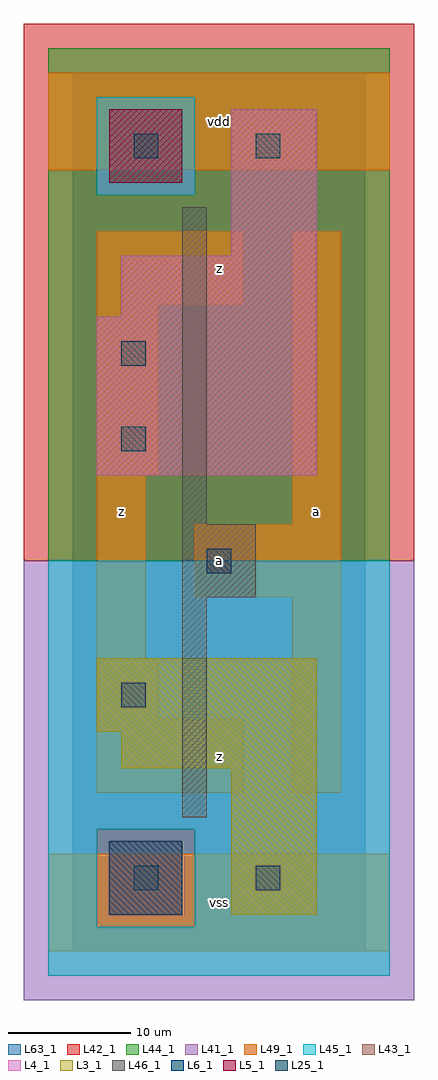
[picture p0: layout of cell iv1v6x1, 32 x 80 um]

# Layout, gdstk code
import gdstk
lib = gdstk.Library(unit=1e-6, precision=1e-09)
def R(c, l, rs):  # rectangles x0, y0, x1, y1
    for r in rs: c.add(gdstk.rectangle(r[:2], r[2:], *l))
L3_1 = (3, 1)
L4_1 = (4, 1)
L5_1 = (5, 1)
L6_1 = (6, 1)
L25_1 = (25, 1)
L41_1 = (41, 1)
L42_1 = (42, 1)
L43_1 = (43, 1)
L44_1 = (44, 1)
L45_1 = (45, 1)
L46_1 = (46, 1)
L49_1 = (49, 1)
L63_1 = (63, 1)

iv1v6x1 = lib.new_cell('iv1v6x1')
R(iv1v6x1, L3_1, [(13,3,20,15), (4,15,20,18), (2,18,20,24)])
R(iv1v6x1, L4_1, [(2,39,20,52), (4,52,20,57), (13,57,20,69)])
R(iv1v6x1, L5_1, [(3,63,9,69)])
R(iv1v6x1, L6_1, [(3,3,9,9), (3,3,9,9)])
R(iv1v6x1, L25_1, [(5,5,7,7), (15,5,17,7), (4,20,6,22), (11,31,13,33), (4,41,6,43), (4,48,6,50), (5,65,7,67), (15,65,17,67)])
R(iv1v6x1, L41_1, [(-4,-4,28,32)])
R(iv1v6x1, L42_1, [(-4,32,28,76)])
R(iv1v6x1, L43_1, [(3,3,9,9), (13,3,20,15), (4,15,20,18), (2,18,20,24), (2,39,20,52), (4,52,20,57), (13,57,20,69), (3,63,9,69)])
R(iv1v6x1, L44_1, [(2,2,10,10), (-2,32,26,62), (-2,62,2,70), (10,62,26,70), (-2,70,26,74)])
R(iv1v6x1, L45_1, [(-2,-2,26,2), (-2,2,2,10), (10,2,26,10), (-2,10,26,32), (2,62,10,70)])
R(iv1v6x1, L46_1, [(9,11,11,29), (9,29,15,35), (9,35,11,61)])
R(iv1v6x1, L49_1, [(-2,0,26,8), (2,13,14,19), (18,13,22,29), (2,19,7,24), (2,24,6,39), (10,29,22,35), (18,35,22,59), (2,39,7,53), (2,53,14,59), (-2,64,26,72)])
R(iv1v6x1, L63_1, [(0,0,24,72)])
iv1v6x1.add(gdstk.Label('z', (4,36), layer=49, texttype=1))
iv1v6x1.add(gdstk.Label('vss', (12,4), layer=49, texttype=1))
iv1v6x1.add(gdstk.Label('z', (12,16), layer=49, texttype=1))
iv1v6x1.add(gdstk.Label('a', (12,32), layer=49, texttype=1))
iv1v6x1.add(gdstk.Label('z', (12,56), layer=49, texttype=1))
iv1v6x1.add(gdstk.Label('vdd', (12,68), layer=49, texttype=1))
iv1v6x1.add(gdstk.Label('a', (20,36), layer=49, texttype=1))

lib.write_gds('iv1v6x1.gds')
